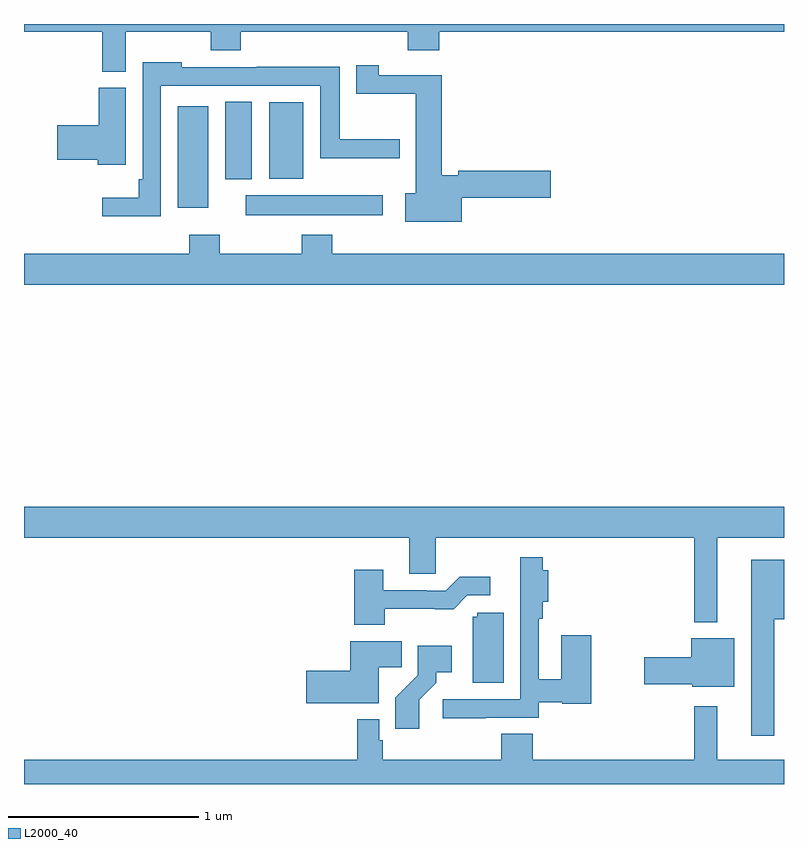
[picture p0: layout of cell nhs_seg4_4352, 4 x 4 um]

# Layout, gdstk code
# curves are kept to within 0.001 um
import gdstk
lib = gdstk.Library(unit=1e-6, precision=1e-09)
def R(c, l, rs):  # rectangles x0, y0, x1, y1
    for r in rs: c.add(gdstk.rectangle(r[:2], r[2:], *l))
def P(c, l, *ps):  # polygons
    for p in ps: c.add(gdstk.Polygon(p, *l))
L2000_40 = (2000, 40)

nhs_seg4_4352 = lib.new_cell('nhs_seg4_4352')
R(nhs_seg4_4352, L2000_40, [(346.167,755.894,346.888,755.998), (345.809,755.934,345.97,756.466), (346.058,756.083,346.198,756.491), (346.292,756.086,346.471,756.487)])
P(nhs_seg4_4352, L2000_40, [(345.535,756.86),(345.982,756.86),(345.982,756.761),(346.142,756.761),(346.142,756.86),(347.021,756.86),(347.021,756.761),(347.186,756.761),(347.186,756.86),(349,756.86),(349,756.9),(345,756.9),(345,756.86),(345.412,756.86),(345.412,756.649),(345.535,756.649)],
  [(345.72,756.576),(346.559,756.576),(346.559,756.194),(346.978,756.194),(346.978,756.294),(346.663,756.294),(346.663,756.674),(346.225,756.674),(346.225,756.672),(345.831,756.672),(345.831,756.7),(345.624,756.7),(345.624,756.082),(345.604,756.082),(345.604,755.986),(345.411,755.986),(345.411,755.888),(345.72,755.888)],
  [(347.305,755.986),(347.773,755.986),(347.773,756.128),(347.285,756.128),(347.285,756.103),(347.198,756.103),(347.198,756.631),(346.866,756.631),(346.866,756.682),(346.748,756.682),(346.748,756.532),(347.063,756.532),(347.063,756.008),(347.007,756.008),(347.007,755.858),(347.305,755.858)],
  [(345.535,756.564),(345.394,756.564),(345.394,756.368),(345.174,756.368),(345.174,756.185),(345.389,756.185),(345.389,756.158),(345.535,756.158)],
  [(349,755.692),(346.622,755.692),(346.622,755.791),(346.462,755.791),(346.462,755.692),(346.029,755.692),(346.029,755.791),(345.869,755.791),(345.869,755.692),(345,755.692),(345,755.528),(349,755.528)],
  [(348.649,754.196),(349,754.196),(349,754.36),(345,754.36),(345,754.196),(347.027,754.196),(347.027,754.006),(347.166,754.006),(347.166,754.196),(348.528,754.196),(348.528,753.752),(348.649,753.752)],
  [(347.429,753.249),(347.709,753.249),(347.709,753.33),(347.832,753.33),(347.832,753.322),(347.986,753.322),(347.986,753.682),(347.828,753.682),(347.828,753.451),(347.709,753.451),(347.709,753.77),(347.729,753.77),(347.729,753.859),(347.759,753.859),(347.759,754.024),(347.729,754.024),(347.729,754.093),(347.612,754.093),(347.612,753.87),(347.613,753.87),(347.613,753.345),(347.205,753.345),(347.205,753.247),(347.429,753.247)],
  [(348.949,753.766),(349,753.766),(349,754.081),(348.827,754.081),(348.827,753.153),(348.949,753.153)],
  [(346.899,753.822),(347.261,753.821),(347.334,753.894),(347.455,753.894),(347.455,753.991),(347.293,753.991),(347.22,753.918),(347.12,753.918),(347.12,753.921),(346.891,753.921),(346.891,754.027),(346.739,754.027),(346.739,753.737),(346.899,753.737)],
  [(347.524,753.801),(347.385,753.801),(347.385,753.78),(347.363,753.78),(347.363,753.432),(347.524,753.432)],
  [(348.739,753.667),(348.512,753.667),(348.512,753.566),(348.264,753.566),(348.264,753.424),(348.516,753.424),(348.516,753.413),(348.739,753.413)],
  [(346.867,753.514),(346.988,753.514),(346.988,753.652),(346.718,753.652),(346.718,753.497),(346.485,753.497),(346.485,753.326),(346.867,753.326)],
  [(347.08,753.343),(347.17,753.433),(347.17,753.488),(347.251,753.488),(347.251,753.628),(347.073,753.628),(347.073,753.473),(346.954,753.354),(346.954,753.192),(347.08,753.192)],
  [(349,753.028),(348.649,753.028),(348.649,753.31),(348.528,753.31),(348.528,753.028),(347.678,753.028),(347.678,753.164),(347.513,753.164),(347.513,753.028),(346.889,753.028),(346.889,753.129),(346.869,753.129),(346.869,753.241),(346.753,753.241),(346.753,753.028),(345,753.028),(345,752.9),(349,752.9)])

lib.write_gds('nhs_seg4_4352.gds')
